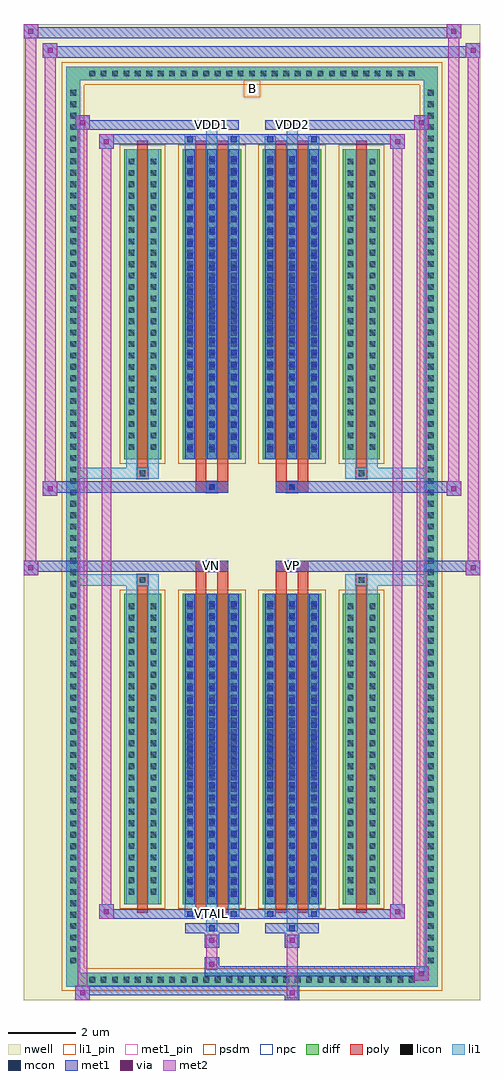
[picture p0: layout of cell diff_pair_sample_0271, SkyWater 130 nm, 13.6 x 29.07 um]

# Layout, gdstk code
import gdstk
lib = gdstk.Library(unit=1e-6, precision=5e-09)
def R(c, l, rs):  # rectangles x0, y0, x1, y1
    for r in rs: c.add(gdstk.rectangle(r[:2], r[2:], *l))
def A(c, l, x, y, w, h, nx, ny, dx, dy):  # array of equal rectangles
    R(c, l, [(x+i*dx, y+j*dy, x+i*dx+w, y+j*dy+h) for i in range(nx) for j in range(ny)])
def P(c, l, *ps):  # polygons
    for p in ps: c.add(gdstk.Polygon(p, *l))
nwell = (64, 20)
diff = (65, 20)
poly = (66, 20)
licon = (66, 44)
li1_pin = (67, 16)
li1 = (67, 20)
mcon = (67, 44)
met1_pin = (68, 16)
met1 = (68, 20)
via = (68, 44)
met2 = (69, 20)
psdm = (94, 20)
npc = (95, 20)

diff_pair_sample_0271 = lib.new_cell('diff_pair_sample_0271')
R(diff_pair_sample_0271, nwell, [(-6.8,-14.1,6.8,14.97), (-4.12,-12.29,-0.01,-0.815), (0.01,-12.29,4.12,-0.815), (-4.12,0.815,-0.01,12.29), (0.01,0.815,4.12,12.29)])
A(diff_pair_sample_0271, diff, -4.965, -13.7, 0.41, 0.41, 29, 2, 0.34, 26.99)
A(diff_pair_sample_0271, diff, -5.53, -13.125, 0.41, 0.41, 1, 77, 0, 0.34)
A(diff_pair_sample_0271, diff, 5.12, -13.125, 0.41, 0.41, 1, 77, 0, 0.34)
R(diff_pair_sample_0271, diff, [(-4.965,-13.7,4.965,-13.29), (-5.53,-13.125,-5.12,13.125), (5.12,-13.125,5.53,13.125), (-3.81,-11.245,-2.71,-2.005), (-2.07,-11.245,-0.32,-2.005), (0.32,-11.245,2.07,-2.005), (2.71,-11.245,3.81,-2.005), (-3.81,2.005,-2.71,11.245), (-2.07,2.005,-0.32,11.245), (0.32,2.005,2.07,11.245), (2.71,2.005,3.81,11.245), (-4.965,13.29,4.965,13.7)])
P(diff_pair_sample_0271, diff, [(5.53,13.7),(-5.53,13.7),(-5.53,-13.29),(-5.12,-13.29),(-5.12,13.29),(5.12,13.29),(5.12,-13.29),(-5.12,-13.29),(-5.53,-13.29),(-5.53,-13.7),(5.53,-13.7)])
R(diff_pair_sample_0271, poly, [(-3.42,-11.495,-3.1,-1.755), (-1.68,-11.495,-1.36,-1.755), (-1.03,-11.495,-0.71,-1.755), (0.71,-11.495,1.03,-1.755), (1.36,-11.495,1.68,-1.755), (3.1,-11.495,3.42,-1.755), (-3.425,-1.755,-3.095,-1.425), (-3.425,-1.755,-3.095,-1.425), (-1.68,-1.755,-1.36,-1.345), (-1.03,-1.755,-0.71,-1.345), (0.71,-1.755,1.03,-1.345), (1.36,-1.755,1.68,-1.345), (3.095,-1.755,3.425,-1.425), (3.095,-1.755,3.425,-1.425), (-1.68,-1.345,-0.71,-1.015), (-1.36,-1.345,-1.03,-1.015), (0.71,-1.345,1.68,-1.015), (1.03,-1.345,1.36,-1.015), (-1.68,1.015,-0.71,1.345), (-1.36,1.015,-1.03,1.345), (0.71,1.015,1.68,1.345), (1.03,1.015,1.36,1.345), (-1.68,1.345,-1.36,1.755), (-1.03,1.345,-0.71,1.755), (0.71,1.345,1.03,1.755), (1.36,1.345,1.68,1.755), (-3.425,1.425,-3.095,1.755), (-3.425,1.425,-3.095,1.755), (3.095,1.425,3.425,1.755), (3.095,1.425,3.425,1.755), (-3.42,1.755,-3.1,11.495), (-1.68,1.755,-1.36,11.495), (-1.03,1.755,-0.71,11.495), (0.71,1.755,1.03,11.495), (1.36,1.755,1.68,11.495), (3.1,1.755,3.42,11.495)])
A(diff_pair_sample_0271, licon, -4.845, -13.58, 0.17, 0.17, 29, 2, 0.34, 26.99)
A(diff_pair_sample_0271, licon, -5.41, -13.005, 0.17, 0.17, 1, 77, 0, 0.34)
A(diff_pair_sample_0271, licon, 5.24, -13.005, 0.17, 0.17, 1, 77, 0, 0.34)
A(diff_pair_sample_0271, licon, -3.67, -10.96, 0.17, 0.17, 1, 26, 0, 0.34)
A(diff_pair_sample_0271, licon, -3.02, -10.96, 0.17, 0.17, 1, 26, 0, 0.34)
A(diff_pair_sample_0271, licon, -1.93, -10.96, 0.17, 0.17, 3, 26, 0.65, 0.34)
A(diff_pair_sample_0271, licon, 0.46, -10.96, 0.17, 0.17, 3, 26, 0.65, 0.34)
A(diff_pair_sample_0271, licon, 2.85, -10.96, 0.17, 0.17, 1, 26, 0, 0.34)
A(diff_pair_sample_0271, licon, 3.5, -10.96, 0.17, 0.17, 1, 26, 0, 0.34)
A(diff_pair_sample_0271, licon, -3.67, 2.29, 0.17, 0.17, 1, 26, 0, 0.34)
A(diff_pair_sample_0271, licon, -3.02, 2.29, 0.17, 0.17, 1, 26, 0, 0.34)
A(diff_pair_sample_0271, licon, -1.93, 2.29, 0.17, 0.17, 3, 26, 0.65, 0.34)
A(diff_pair_sample_0271, licon, 0.46, 2.29, 0.17, 0.17, 3, 26, 0.65, 0.34)
A(diff_pair_sample_0271, licon, 2.85, 2.29, 0.17, 0.17, 1, 26, 0, 0.34)
A(diff_pair_sample_0271, licon, 3.5, 2.29, 0.17, 0.17, 1, 26, 0, 0.34)
R(diff_pair_sample_0271, licon, [(-3.345,-1.675,-3.175,-1.505), (3.175,-1.675,3.345,-1.505), (-1.28,-1.265,-1.11,-1.095), (1.11,-1.265,1.28,-1.095), (-1.28,1.095,-1.11,1.265), (1.11,1.095,1.28,1.265), (-3.345,1.505,-3.175,1.675), (3.175,1.505,3.345,1.675)])
R(diff_pair_sample_0271, li1_pin, [(-0.25,12.79,0.25,13.29)])
A(diff_pair_sample_0271, li1, -4.925, -13.66, 0.33, 0.33, 29, 2, 0.34, 26.99)
A(diff_pair_sample_0271, li1, -5.49, -13.085, 0.33, 0.33, 1, 77, 0, 0.34)
A(diff_pair_sample_0271, li1, 5.16, -13.085, 0.33, 0.33, 1, 77, 0, 0.34)
A(diff_pair_sample_0271, li1, -2.01, -11.245, 0.33, 9.24, 3, 2, 0.65, 13.25)
A(diff_pair_sample_0271, li1, 0.38, -11.245, 0.33, 9.24, 3, 2, 0.65, 13.25)
A(diff_pair_sample_0271, li1, -3.75, -11.04, 0.33, 0.33, 1, 26, 0, 0.34)
A(diff_pair_sample_0271, li1, -3.1, -11.04, 0.33, 0.33, 1, 26, 0, 0.34)
A(diff_pair_sample_0271, li1, -2.01, -11.04, 0.33, 0.33, 3, 26, 0.65, 0.34)
A(diff_pair_sample_0271, li1, 0.38, -11.04, 0.33, 0.33, 3, 26, 0.65, 0.34)
A(diff_pair_sample_0271, li1, 2.77, -11.04, 0.33, 0.33, 1, 26, 0, 0.34)
A(diff_pair_sample_0271, li1, 3.42, -11.04, 0.33, 0.33, 1, 26, 0, 0.34)
A(diff_pair_sample_0271, li1, -1.93, -11.03, 0.17, 0.17, 3, 25, 0.65, 0.36)
A(diff_pair_sample_0271, li1, -1.93, -11.03, 0.17, 8.81, 3, 2, 0.65, 13.25)
A(diff_pair_sample_0271, li1, 0.46, -11.03, 0.17, 0.17, 3, 25, 0.65, 0.36)
A(diff_pair_sample_0271, li1, 0.46, -11.03, 0.17, 8.81, 3, 2, 0.65, 13.25)
A(diff_pair_sample_0271, li1, -3.75, 2.21, 0.33, 0.33, 1, 26, 0, 0.34)
A(diff_pair_sample_0271, li1, -3.1, 2.21, 0.33, 0.33, 1, 26, 0, 0.34)
A(diff_pair_sample_0271, li1, -2.01, 2.21, 0.33, 0.33, 3, 26, 0.65, 0.34)
A(diff_pair_sample_0271, li1, 0.38, 2.21, 0.33, 0.33, 3, 26, 0.65, 0.34)
A(diff_pair_sample_0271, li1, 2.77, 2.21, 0.33, 0.33, 1, 26, 0, 0.34)
A(diff_pair_sample_0271, li1, 3.42, 2.21, 0.33, 0.33, 1, 26, 0, 0.34)
A(diff_pair_sample_0271, li1, -1.93, 2.22, 0.17, 0.17, 3, 25, 0.65, 0.36)
A(diff_pair_sample_0271, li1, 0.46, 2.22, 0.17, 0.17, 3, 25, 0.65, 0.36)
R(diff_pair_sample_0271, li1, [(-5.53,-13.7,-5.12,-13.29), (-5.53,-13.7,-5.12,-13.29), (-5.12,-13.7,5.12,-13.29), (5.12,-13.7,5.53,-13.29), (5.12,-13.7,5.53,-13.29), (-5.53,-13.29,-5.12,13.29), (5.12,-13.29,5.53,13.29), (-1.36,-12.05,-1.03,-11.245), (-1.28,-12.05,-1.11,-11.88), (1.03,-12.05,1.36,-11.245), (1.11,-12.05,1.28,-11.88), (-2.01,-11.62,-1.68,-11.245), (-1.93,-11.62,-1.76,-11.45), (-0.71,-11.62,-0.38,-11.245), (-0.63,-11.62,-0.46,-11.45), (0.38,-11.62,0.71,-11.245), (0.46,-11.62,0.63,-11.45), (1.68,-11.62,2.01,-11.245), (1.76,-11.62,1.93,-11.45), (-3.75,-11.245,-3.42,-2.005), (-3.1,-11.245,-2.77,-2.005), (2.77,-11.245,3.1,-2.005), (3.42,-11.245,3.75,-2.005), (-3.75,-2.005,-3.42,-1.425), (-3.1,-2.005,-2.77,-1.425), (2.77,-2.005,3.1,-1.425), (3.42,-2.005,3.75,-1.425), (-5.53,-1.755,-3.425,-1.425), (-3.75,-1.755,-3.425,-1.425), (-3.425,-1.755,-3.095,-1.425), (-3.095,-1.755,-2.77,-1.425), (2.77,-1.755,3.095,-1.425), (3.095,-1.755,3.425,-1.425), (3.095,-1.755,5.53,-1.425), (3.425,-1.755,3.75,-1.425), (-1.36,-1.345,-1.03,-1.015), (1.03,-1.345,1.36,-1.015), (-1.36,1.015,-1.03,1.345), (1.03,1.015,1.36,1.345), (-5.53,1.425,-3.425,1.755), (-3.75,1.425,-3.425,1.755), (-3.75,1.425,-3.42,2.005), (-3.425,1.425,-3.095,1.755), (-3.1,1.425,-2.77,2.005), (-3.095,1.425,-2.77,1.755), (2.77,1.425,3.095,1.755), (2.77,1.425,3.1,2.005), (3.095,1.425,3.425,1.755), (3.095,1.425,5.53,1.755), (3.42,1.425,3.75,2.005), (3.425,1.425,3.75,1.755), (-3.75,2.005,-3.42,11.245), (-3.1,2.005,-2.77,11.245), (2.77,2.005,3.1,11.245), (3.42,2.005,3.75,11.245), (-2.01,11.245,-1.68,11.62), (-1.36,11.245,-1.03,12.05), (-0.71,11.245,-0.38,11.62), (0.38,11.245,0.71,11.62), (1.03,11.245,1.36,12.05), (1.68,11.245,2.01,11.62), (-1.93,11.45,-1.76,11.62), (-0.63,11.45,-0.46,11.62), (0.46,11.45,0.63,11.62), (1.76,11.45,1.93,11.62), (-1.28,11.88,-1.11,12.05), (1.11,11.88,1.28,12.05), (-5.53,13.29,-5.12,13.7), (-5.53,13.29,-5.12,13.7), (-5.12,13.29,5.12,13.7), (5.12,13.29,5.53,13.7), (5.12,13.29,5.53,13.7)])
A(diff_pair_sample_0271, mcon, -1.93, -11.03, 0.17, 0.17, 3, 25, 0.65, 0.36)
A(diff_pair_sample_0271, mcon, 0.46, -11.03, 0.17, 0.17, 3, 25, 0.65, 0.36)
A(diff_pair_sample_0271, mcon, -1.93, 2.22, 0.17, 0.17, 3, 25, 0.65, 0.36)
A(diff_pair_sample_0271, mcon, 0.46, 2.22, 0.17, 0.17, 3, 25, 0.65, 0.36)
R(diff_pair_sample_0271, mcon, [(-1.28,-12.05,-1.11,-11.88), (1.11,-12.05,1.28,-11.88), (-1.93,-11.62,-1.76,-11.45), (-0.63,-11.62,-0.46,-11.45), (0.46,-11.62,0.63,-11.45), (1.76,-11.62,1.93,-11.45), (-1.28,-1.265,-1.11,-1.095), (1.11,-1.265,1.28,-1.095), (-1.28,1.095,-1.11,1.265), (1.11,1.095,1.28,1.265), (-1.93,11.45,-1.76,11.62), (-0.63,11.45,-0.46,11.62), (0.46,11.45,0.63,11.62), (1.76,11.45,1.93,11.62), (-1.28,11.88,-1.11,12.05), (1.11,11.88,1.28,12.05)])
R(diff_pair_sample_0271, met1_pin, [(-1.33,-11.66,-1.06,-11.39), (-1.33,-1.285,-1.06,-1.015), (1.06,-1.285,1.33,-1.015), (-1.33,11.84,-1.06,12.11), (1.06,11.84,1.33,12.11)])
A(diff_pair_sample_0271, met1, -1.99, -11.245, 0.29, 9.24, 3, 2, 0.65, 13.25)
A(diff_pair_sample_0271, met1, 0.4, -11.245, 0.29, 9.24, 3, 2, 0.65, 13.25)
A(diff_pair_sample_0271, met1, -1.99, -11.09, 0.29, 0.29, 3, 25, 0.65, 0.36)
A(diff_pair_sample_0271, met1, 0.4, -11.09, 0.29, 0.29, 3, 25, 0.65, 0.36)
A(diff_pair_sample_0271, met1, -1.99, 2.16, 0.29, 0.29, 3, 25, 0.65, 0.36)
A(diff_pair_sample_0271, met1, 0.4, 2.16, 0.29, 0.29, 3, 25, 0.65, 0.36)
R(diff_pair_sample_0271, met1, [(-5.26,-14.1,-4.83,-13.67), (0.98,-14.1,1.41,-13.67), (-5.26,-13.96,1.41,-13.67), (4.83,-13.53,5.26,-13.1), (-1.41,-13.39,5.26,-13.1), (-1.41,-13.25,-0.98,-12.82), (-1.41,-12.54,-0.98,-12.11), (0.98,-12.54,1.41,-12.11), (-1.99,-12.11,-0.4,-11.82), (-1.34,-12.11,-1.05,-11.82), (0.4,-12.11,1.99,-11.82), (1.05,-12.11,1.34,-11.82), (-4.55,-11.68,-4.12,-11.25), (-4.55,-11.68,-1.99,-11.39), (-1.99,-11.68,-1.7,-11.39), (-1.99,-11.68,-0.4,-11.39), (-0.69,-11.68,-0.4,-11.39), (-0.4,-11.68,0.4,-11.39), (0.4,-11.68,0.69,-11.39), (0.4,-11.68,1.99,-11.39), (1.7,-11.68,1.99,-11.39), (1.99,-11.68,4.55,-11.39), (4.12,-11.68,4.55,-11.25), (-6.8,-1.445,-6.37,-1.015), (6.37,-1.445,6.8,-1.015), (-6.8,-1.345,-0.71,-1.015), (-1.68,-1.345,-0.71,-1.015), (0.71,-1.345,1.68,-1.015), (0.71,-1.345,6.8,-1.015), (-1.34,-1.325,-1.05,-1.035), (1.05,-1.325,1.34,-1.035), (-6.23,0.915,-5.8,1.345), (5.8,0.915,6.23,1.345), (-6.23,1.015,-1.68,1.345), (-1.68,1.015,-0.71,1.345), (0.71,1.015,1.68,1.345), (1.68,1.015,6.23,1.345), (-1.34,1.035,-1.05,1.325), (1.05,1.035,1.34,1.325), (-4.55,11.25,-4.12,11.68), (4.12,11.25,4.55,11.68), (-4.55,11.39,-1.99,11.68), (-1.99,11.39,-1.7,11.68), (-1.99,11.39,-0.4,11.68), (-0.69,11.39,-0.4,11.68), (-0.4,11.39,0.4,11.68), (0.4,11.39,0.69,11.68), (0.4,11.39,1.99,11.68), (1.7,11.39,1.99,11.68), (1.99,11.39,4.55,11.68), (-5.26,11.82,-4.83,12.25), (-5.26,11.82,-1.99,12.11), (-1.99,11.82,-0.4,12.11), (-1.34,11.82,-1.05,12.11), (0.4,11.82,1.99,12.11), (1.05,11.82,1.34,12.11), (1.99,11.82,5.26,12.11), (4.83,11.82,5.26,12.25), (-6.23,13.97,-5.8,14.4), (-6.23,13.97,-4.12,14.3), (-4.12,13.97,4.12,14.3), (4.12,13.97,6.8,14.3), (6.37,13.97,6.8,14.4), (-6.8,14.54,-6.37,14.97), (-6.8,14.54,-4.12,14.87), (-4.12,14.54,4.12,14.87), (4.12,14.54,6.23,14.87), (5.8,14.54,6.23,14.97)])
R(diff_pair_sample_0271, via, [(-5.12,-13.96,-4.97,-13.81), (1.12,-13.96,1.27,-13.81), (4.97,-13.39,5.12,-13.24), (-1.27,-13.11,-1.12,-12.96), (-1.27,-12.4,-1.12,-12.25), (1.12,-12.4,1.27,-12.25), (-4.41,-11.54,-4.26,-11.39), (4.26,-11.54,4.41,-11.39), (-6.66,-1.305,-6.51,-1.155), (6.51,-1.305,6.66,-1.155), (-6.09,1.055,-5.94,1.205), (5.94,1.055,6.09,1.205), (-4.41,11.39,-4.26,11.54), (4.26,11.39,4.41,11.54), (-5.12,11.96,-4.97,12.11), (4.97,11.96,5.12,12.11), (-6.09,14.11,-5.94,14.26), (6.51,14.11,6.66,14.26), (-6.66,14.68,-6.51,14.83), (5.94,14.68,6.09,14.83)])
R(diff_pair_sample_0271, met2, [(-5.26,-14.1,-4.83,-13.67), (-5.19,-14.1,-4.9,12.25), (-4.9,-14.1,-4.83,-13.67), (-5.21,-14.05,-4.88,-13.72), (1.03,-14.05,1.36,-13.72), (1.03,-13.72,1.36,-12.49), (4.83,-13.53,5.26,-13.1), (4.9,-13.53,5.19,12.25), (5.19,-13.53,5.26,-13.1), (4.88,-13.48,5.21,-13.15), (-1.36,-13.2,-1.03,-12.87), (-1.36,-12.87,-1.03,-12.49), (-1.36,-12.49,-1.03,-12.16), (1.03,-12.49,1.36,-12.16), (-4.55,-11.68,-4.12,-11.25), (-4.48,-11.68,-4.19,11.68), (-4.19,-11.68,-4.12,-11.25), (4.12,-11.68,4.55,-11.25), (4.19,-11.68,4.48,11.68), (4.48,-11.68,4.55,-11.25), (-4.5,-11.63,-4.17,-11.3), (4.17,-11.63,4.5,-11.3), (-6.8,-1.445,-6.37,-1.015), (-6.75,-1.445,-6.42,14.97), (-6.42,-1.445,-6.37,-1.015), (6.37,-1.445,6.8,-1.015), (6.42,-1.445,6.75,14.4), (6.75,-1.445,6.8,-1.015), (-6.75,-1.395,-6.42,-1.065), (6.42,-1.395,6.75,-1.065), (-6.23,0.915,-5.8,1.345), (-6.18,0.915,-5.85,14.4), (-5.85,0.915,-5.8,1.345), (5.8,0.915,6.23,1.345), (5.85,0.915,6.18,14.97), (6.18,0.915,6.23,1.345), (-6.18,0.965,-5.85,1.295), (5.85,0.965,6.18,1.295), (-4.55,11.25,-4.12,11.68), (-4.19,11.25,-4.12,11.68), (4.12,11.25,4.55,11.68), (4.48,11.25,4.55,11.68), (-4.5,11.3,-4.17,11.63), (4.17,11.3,4.5,11.63), (-5.26,11.82,-4.83,12.25), (-4.9,11.82,-4.83,12.25), (4.83,11.82,5.26,12.25), (5.19,11.82,5.26,12.25), (-5.21,11.87,-4.88,12.2), (4.88,11.87,5.21,12.2), (-6.23,13.97,-5.8,14.4), (-5.85,13.97,-5.8,14.4), (6.37,13.97,6.8,14.4), (6.75,13.97,6.8,14.4), (-6.18,14.02,-5.85,14.35), (6.42,14.02,6.75,14.35), (-6.8,14.54,-6.37,14.97), (-6.42,14.54,-6.37,14.97), (5.8,14.54,6.23,14.97), (6.18,14.54,6.23,14.97), (-6.75,14.59,-6.42,14.92), (5.85,14.59,6.18,14.92)])
R(diff_pair_sample_0271, psdm, [(-3.94,-11.375,-2.58,-1.875), (-2.2,-11.375,-0.19,-1.875), (0.19,-11.375,2.2,-1.875), (2.58,-11.375,3.94,-1.875), (-3.94,1.875,-2.58,11.375), (-2.2,1.875,-0.19,11.375), (0.19,1.875,2.2,11.375), (2.58,1.875,3.94,11.375)])
P(diff_pair_sample_0271, psdm, [(5.66,13.83),(-5.66,13.83),(-5.66,-13.16),(-4.99,-13.16),(-4.99,13.16),(4.99,13.16),(4.99,-13.16),(-4.99,-13.16),(-5.66,-13.16),(-5.66,-13.83),(5.66,-13.83)])
R(diff_pair_sample_0271, npc, [(-3.445,-1.775,-3.075,-1.405), (3.075,-1.775,3.445,-1.405), (-1.38,-1.365,-1.01,-0.995), (1.01,-1.365,1.38,-0.995), (-1.38,0.995,-1.01,1.365), (1.01,0.995,1.38,1.365), (-3.445,1.405,-3.075,1.775), (3.075,1.405,3.445,1.775)])
diff_pair_sample_0271.add(gdstk.Label('VTAIL', (-1.195,-11.525), layer=68, texttype=5))
diff_pair_sample_0271.add(gdstk.Label('VN', (-1.195,-1.15), layer=68, texttype=5))
diff_pair_sample_0271.add(gdstk.Label('VP', (1.195,-1.15), layer=68, texttype=5))
diff_pair_sample_0271.add(gdstk.Label('B', (0,13.04), layer=67, texttype=5))
diff_pair_sample_0271.add(gdstk.Label('VDD2', (1.195,11.975), layer=68, texttype=5))
diff_pair_sample_0271.add(gdstk.Label('VDD1', (-1.195,11.975), layer=68, texttype=5))

lib.write_gds('diff_pair_sample_0271.gds')
